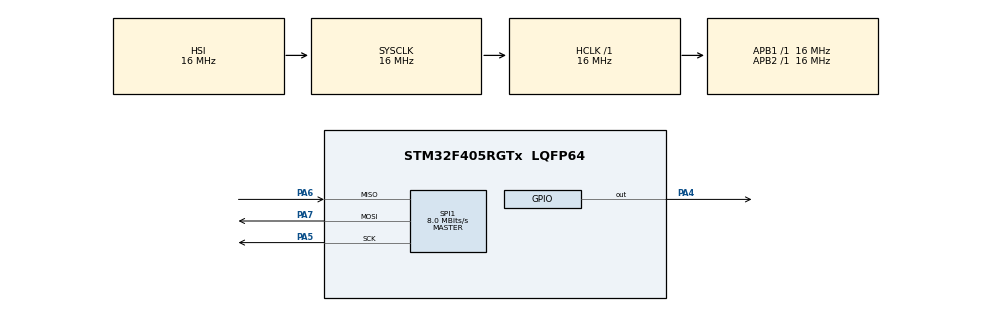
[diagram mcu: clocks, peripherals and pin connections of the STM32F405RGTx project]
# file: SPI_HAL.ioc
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Mcu.Family=STM32F4
Mcu.Name=STM32F405RGTx
Mcu.Package=LQFP64
NVIC.PriorityGroup=NVIC_PRIORITYGROUP_4
PA13.Mode=Serial_Wire
PA13.Signal=SYS_JTMS-SWDIO
PA14.Mode=Serial_Wire
PA14.Signal=SYS_JTCK-SWCLK
PA4.GPIO_Speed=GPIO_SPEED_FREQ_HIGH
PA4.PinState=GPIO_PIN_SET
PA4.Signal=GPIO_Output
PA5.Mode=Full_Duplex_Master
PA5.Signal=SPI1_SCK
PA6.Mode=Full_Duplex_Master
PA6.Signal=SPI1_MISO
PA7.Mode=Full_Duplex_Master
PA7.Signal=SPI1_MOSI
ProjectManager.HeapSize=0x200
ProjectManager.StackSize=0x400
ProjectManager.TargetToolchain=STM32CubeIDE
RCC.48MHZClocksFreq_Value=42000000
RCC.AHBFreq_Value=16000000
RCC.APB1Freq_Value=16000000
RCC.APB1TimFreq_Value=16000000
RCC.APB2Freq_Value=16000000
RCC.APB2TimFreq_Value=16000000
RCC.CortexFreq_Value=16000000
RCC.HCLKFreq_Value=16000000
RCC.HSE_VALUE=25000000
RCC.HSI_VALUE=16000000
RCC.LSE_VALUE=32768
RCC.PLLN=168
RCC.SYSCLKFreq_VALUE=16000000
RCC.VCOOutputFreq_Value=168000000
SPI1.CalculateBaudRate=8.0 MBits/s
SPI1.Direction=SPI_DIRECTION_2LINES
SPI1.Mode=SPI_MODE_MASTER
SPI1.VirtualType=VM_MASTER
board=custom

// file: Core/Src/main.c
/* USER CODE BEGIN Header */
/**
  ******************************************************************************
  * @file           : main.c
  * @brief          : Main program body
  ******************************************************************************
  * @attention
  *
  * Copyright (c) 2026 STMicroelectronics.
  * All rights reserved.
  *
  * This software is licensed under terms that can be found in the LICENSE file
  * in the root directory of this software component.
  * If no LICENSE file comes with this software, it is provided AS-IS.
  *
  ******************************************************************************
  */
/* USER CODE END Header */
#include "main.h"

/* USER CODE BEGIN PD */
#define EEPROM_CS_LOW()   HAL_GPIO_WritePin(GPIOA, GPIO_PIN_4, GPIO_PIN_RESET)
#define EEPROM_CS_HIGH()  HAL_GPIO_WritePin(GPIOA, GPIO_PIN_4, GPIO_PIN_SET)

/* EEPROM Commands */
#define EEPROM_CMD_WREN   0x06
#define EEPROM_CMD_WRITE  0x02
#define EEPROM_CMD_RDSR   0x05
#define EEPROM_CMD_READ   0x03
/* USER CODE END PD */

SPI_HandleTypeDef hspi1;

void SystemClock_Config(void);
static void MX_GPIO_Init(void);
static void MX_SPI1_Init(void);
/* USER CODE BEGIN PFP */
void EEPROM_WriteEnable(void);
uint8_t EEPROM_ReadStatus(void);
void EEPROM_WaitWriteEnd(void);
void EEPROM_WriteByte(uint16_t addr, uint8_t data);
uint8_t EEPROM_ReadByte(uint16_t addr);
/* USER CODE END PFP */

/* USER CODE BEGIN 0 */
uint8_t val,val2;
/* USER CODE END 0 */

int main(void)
{

  /* MCU Configuration--------------------------------------------------------*/

  /* Reset of all peripherals, Initializes the Flash interface and the Systick. */
  HAL_Init();

  /* Configure the system clock */
  SystemClock_Config();

  /* Initialize all configured peripherals */
  MX_GPIO_Init();
  MX_SPI1_Init();
  /* USER CODE BEGIN 2 */
      HAL_Delay(10);   // EEPROM power-up delay
      EEPROM_WriteByte(0x0010, 0x12);
      val = EEPROM_ReadByte(0x0010);
      HAL_Delay(100);
      EEPROM_WriteByte(0x0012, 0x65);
      val2 = EEPROM_ReadByte(0x0012);

  /* USER CODE END 2 */

  /* Infinite loop */
  while (1)
  {

  }
}

void SystemClock_Config(void)
{
  RCC_OscInitTypeDef RCC_OscInitStruct = {0};
  RCC_ClkInitTypeDef RCC_ClkInitStruct = {0};

  /** Configure the main internal regulator output voltage
  */
  __HAL_RCC_PWR_CLK_ENABLE();
  __HAL_PWR_VOLTAGESCALING_CONFIG(PWR_REGULATOR_VOLTAGE_SCALE1);

  /** Initializes the RCC Oscillators according to the specified parameters
  * in the RCC_OscInitTypeDef structure.
  */
  RCC_OscInitStruct.OscillatorType = RCC_OSCILLATORTYPE_HSI;
  RCC_OscInitStruct.HSIState = RCC_HSI_ON;
  RCC_OscInitStruct.HSICalibrationValue = RCC_HSICALIBRATION_DEFAULT;
  RCC_OscInitStruct.PLL.PLLState = RCC_PLL_NONE;
  if (HAL_RCC_OscConfig(&RCC_OscInitStruct) != HAL_OK)
  {
    Error_Handler();
  }

  /** Initializes the CPU, AHB and APB buses clocks
  */
  RCC_ClkInitStruct.ClockType = RCC_CLOCKTYPE_HCLK|RCC_CLOCKTYPE_SYSCLK
                              |RCC_CLOCKTYPE_PCLK1|RCC_CLOCKTYPE_PCLK2;
  RCC_ClkInitStruct.SYSCLKSource = RCC_SYSCLKSOURCE_HSI;
  RCC_ClkInitStruct.AHBCLKDivider = RCC_SYSCLK_DIV1;
  RCC_ClkInitStruct.APB1CLKDivider = RCC_HCLK_DIV1;
  RCC_ClkInitStruct.APB2CLKDivider = RCC_HCLK_DIV1;

  if (HAL_RCC_ClockConfig(&RCC_ClkInitStruct, FLASH_LATENCY_0) != HAL_OK)
  {
    Error_Handler();
  }
}

static void MX_SPI1_Init(void)
{

  /* SPI1 parameter configuration*/
  hspi1.Instance = SPI1;
  hspi1.Init.Mode = SPI_MODE_MASTER;
  hspi1.Init.Direction = SPI_DIRECTION_2LINES;
  hspi1.Init.DataSize = SPI_DATASIZE_8BIT;
  hspi1.Init.CLKPolarity = SPI_POLARITY_LOW;
  hspi1.Init.CLKPhase = SPI_PHASE_1EDGE;
  hspi1.Init.NSS = SPI_NSS_SOFT;
  hspi1.Init.BaudRatePrescaler = SPI_BAUDRATEPRESCALER_2;
  hspi1.Init.FirstBit = SPI_FIRSTBIT_MSB;
  hspi1.Init.TIMode = SPI_TIMODE_DISABLE;
  hspi1.Init.CRCCalculation = SPI_CRCCALCULATION_DISABLE;
  hspi1.Init.CRCPolynomial = 10;
  if (HAL_SPI_Init(&hspi1) != HAL_OK)
  {
    Error_Handler();
  }

}

static void MX_GPIO_Init(void)
{
  GPIO_InitTypeDef GPIO_InitStruct = {0};

  /* GPIO Ports Clock Enable */
  __HAL_RCC_GPIOA_CLK_ENABLE();

  /*Configure GPIO pin Output Level */
  HAL_GPIO_WritePin(GPIOA, GPIO_PIN_4, GPIO_PIN_SET);

  /*Configure GPIO pin : PA4 */
  GPIO_InitStruct.Pin = GPIO_PIN_4;
  GPIO_InitStruct.Mode = GPIO_MODE_OUTPUT_PP;
  GPIO_InitStruct.Pull = GPIO_NOPULL;
  GPIO_InitStruct.Speed = GPIO_SPEED_FREQ_HIGH;
  HAL_GPIO_Init(GPIOA, &GPIO_InitStruct);

}

/* USER CODE BEGIN 4 */
/* Write Byte */
void EEPROM_WriteByte(uint16_t addr, uint8_t data)
{
    uint8_t buffer[4];

    EEPROM_WriteEnable();

    buffer[0] = EEPROM_CMD_WRITE;
    buffer[1] = (addr >> 8);
    buffer[2] = (addr & 0xFF);
    buffer[3] = data;

    EEPROM_CS_LOW();
    HAL_SPI_Transmit(&hspi1, buffer, 4, HAL_MAX_DELAY);
    EEPROM_CS_HIGH();

    EEPROM_WaitWriteEnd();
}
/* Write Enable */
void EEPROM_WriteEnable(void)
{
    uint8_t cmd = EEPROM_CMD_WREN;

    EEPROM_CS_LOW();
    HAL_SPI_Transmit(&hspi1, &cmd, 1, HAL_MAX_DELAY);
    EEPROM_CS_HIGH();
}

/* Wait Write End */
void EEPROM_WaitWriteEnd(void)
{
    while (EEPROM_ReadStatus() & 0x01);
}

/* Read Byte */
uint8_t EEPROM_ReadByte(uint16_t addr)
{
    uint8_t cmd[3];
    uint8_t data;

    cmd[0] = EEPROM_CMD_READ;
    cmd[1] = (addr >> 8);
    cmd[2] = addr & 0xFF;

    EEPROM_CS_LOW();
    HAL_SPI_Transmit(&hspi1, cmd, 3, HAL_MAX_DELAY);
    HAL_SPI_Receive(&hspi1, &data, 1, HAL_MAX_DELAY);
    EEPROM_CS_HIGH();

    return data;
}

/* Read Status Register */
uint8_t EEPROM_ReadStatus(void)
{
    uint8_t cmd = EEPROM_CMD_RDSR;
    uint8_t status;

    EEPROM_CS_LOW();
    HAL_SPI_Transmit(&hspi1, &cmd, 1, HAL_MAX_DELAY);
    HAL_SPI_Receive(&hspi1, &status, 1, HAL_MAX_DELAY);
    EEPROM_CS_HIGH();

    return status;
}
/* USER CODE END 4 */

void Error_Handler(void)
{
  __disable_irq();
  while (1)
  {
  }
}
